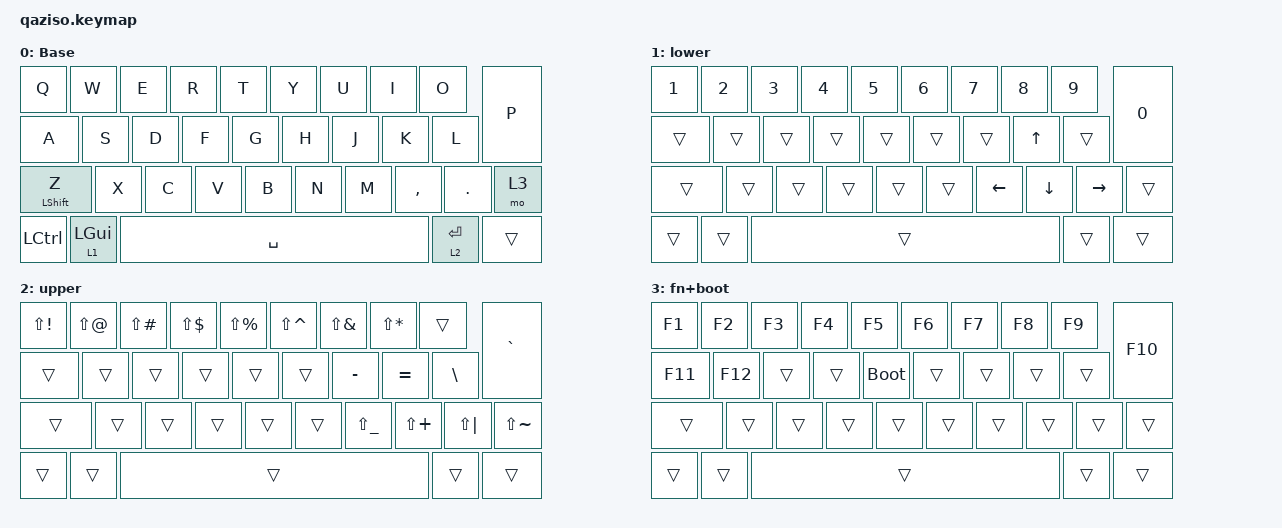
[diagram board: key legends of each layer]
#include <behaviors.dtsi>
#include <dt-bindings/zmk/keys.h>

/ {
    behaviors {
        hrm: HRM {
            compatible = "zmk,behavior-hold-tap";
            label = "HRM";
            #binding-cells = <2>;
            flavor = "balanced";
            tapping-term-ms = <280>;
            quick-tap-ms = <175>;
            require-prior-idle-ms = <150>;
            bindings = <&kp>, <&kp>;

            hold-trigger-key-positions = < 0 1 2 3 4 5 6 7 8 9 10 11 12 13 14 15 16 17 18 19 20 21 22 23 24 25 26 27 28 29 30 31 32 33>;
            hold-trigger-on-release;
        };

        sh: sticky_hold {
            compatible = "zmk,behavior-hold-tap";
            label = "SH";
            bindings = <&mo>, <&sl>;

            #binding-cells = <2>;
            tapping-term-ms = <300>;
            quick-tap-ms = <0>;
            flavor = "tap-preferred";
        };
    };

    combos {
        compatible = "zmk,combos";

        par1 {
            bindings = <&kp LEFT_PARENTHESIS>;
            key-positions = <3 2>;
            layers = <0>;
        };

        par2 {
            bindings = <&kp RIGHT_PARENTHESIS>;
            key-positions = <6 7>;
            layers = <0>;
        };

        cur1 {
            bindings = <&kp LEFT_BRACE>;
            key-positions = <21 22>;
            layers = <0>;
        };

        cur2 {
            bindings = <&kp RIGHT_BRACE>;
            key-positions = <26 25>;
            layers = <0>;
        };

        bracket1 {
            bindings = <&kp LEFT_BRACKET>;
            key-positions = <12 13>;
            layers = <0>;
        };

        bracket2 {
            bindings = <&kp RIGHT_BRACKET>;
            key-positions = <17 16>;
            layers = <0>;
        };

        esc {
            bindings = <&kp ESCAPE>;
            key-positions = <1 0>;
            layers = <0>;
        };

        quotes {
            bindings = <&kp SINGLE_QUOTE>;
            key-positions = <9 18>;
            layers = <0>;
        };

        enter {
            bindings = <&kp ENTER>;
            key-positions = <18 17 16>;
            layers = <0>;
        };

        tab {
            bindings = <&kp TAB>;
            key-positions = <11 10>;
            layers = <0>;
        };

        slash {
            bindings = <&kp SLASH>;
            key-positions = <26 27>;
            layers = <0>;
        };

        backspace {
            bindings = <&kp BACKSPACE>;
            key-positions = <9 8>;
            layers = <0>;
        };

        semicolon {
            bindings = <&kp SEMI>;
            key-positions = <18 17>;
            layers = <0>;
        };

        delete {
            bindings = <&kp DEL>;
            key-positions = <9 8>;
            layers = <1>;
        };
    };

    keymap {
        compatible = "zmk,keymap";

        base {
            display-name = "Base";
            bindings = <
&kp Q              &kp W           &kp E      &kp R  &kp T  &kp Y  &kp U  &kp I      &kp O        &kp P
&kp A              &kp S           &kp D      &kp F  &kp G  &kp H  &kp J  &kp K      &kp L
&hrm LEFT_SHIFT Z  &kp X           &kp C      &kp V  &kp B  &kp N  &kp M  &kp COMMA  &kp DOT      &mo 3
&kp LCTRL          &lt 1 LEFT_GUI  &kp SPACE                                         &lt 2 ENTER  &trans
            >;
        };

        lower {
            bindings = <
&kp N1  &kp N2  &kp N3  &kp N4  &kp N5  &kp N6  &kp N7    &kp N8    &kp N9     &kp N0
&trans  &trans  &trans  &trans  &trans  &trans  &trans    &kp UP    &trans
&trans  &trans  &trans  &trans  &trans  &trans  &kp LEFT  &kp DOWN  &kp RIGHT  &trans
&trans  &trans  &trans                                              &trans     &trans
            >;
        };

        upper {
            bindings = <
&kp LS(EXCL)  &kp LS(AT)  &kp LS(POUND)  &kp LS(DLLR)  &kp LS(PRCNT)  &kp LS(CARET)  &kp LS(AMPS)   &kp LS(STAR)  &trans        &kp GRAVE
&trans        &trans      &trans         &trans        &trans         &trans         &kp MINUS      &kp EQUAL     &kp BSLH
&trans        &trans      &trans         &trans        &trans         &trans         &kp LS(UNDER)  &kp LS(PLUS)  &kp LS(PIPE)  &kp LS(TILDE)
&trans        &trans      &trans                                                                                  &trans        &trans
            >;
        };

        fn+boot {
            bindings = <
&kp F1   &kp F2   &kp F3  &kp F4  &kp F5       &kp F6  &kp F7  &kp F8  &kp F9  &kp F10
&kp F11  &kp F12  &trans  &trans  &bootloader  &trans  &trans  &trans  &trans
&trans   &trans   &trans  &trans  &trans       &trans  &trans  &trans  &trans  &trans
&trans   &trans   &trans                                               &trans  &trans
            >;
        };
    };
};
